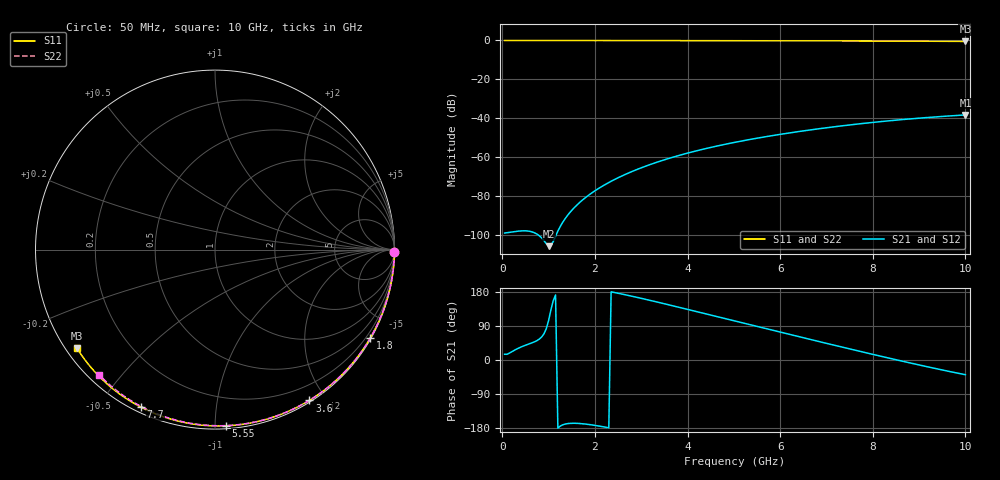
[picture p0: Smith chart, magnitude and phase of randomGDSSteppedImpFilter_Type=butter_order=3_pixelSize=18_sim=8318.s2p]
! freq	dB(S11)	phase(S11)	dB(S12)	phase(S12)
!  dB(S21)	phase(S21)	dB(S22)	phase(S22)
!S-par simulation data
#  GHz  S  DB  R 50
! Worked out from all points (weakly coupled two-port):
!   200 points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, 50 MHz to 10 GHz, reference 50 ohm
!   highest |S21| = -38.25 dB at 10 GHz (marker M1); lowest = -105.7 dB at 1 GHz (marker M2)
!   lowest |S11| = -0.5 dB at 10 GHz (marker M3), VSWR 35.43, Z = 1.56 - j16 ohm
!   |S11| at or under -10 dB: nowhere
!   |S22| runs from -0.4 to 0.0 dB; largest |S21 - S12| = 0
!   S11 on the Smith chart (normalised r, x): 50 MHz: open; 1.8 GHz: 0.03, -3.77; 3.6 GHz: 0.02, -1.80; 5.55 GHz: 0.02, -1.07; 7.7 GHz: 0.02, -0.63; 10 GHz: 0.03, -0.32
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0.05  -0.00 -0.8  -98.93 15.1  -98.93 15.1  -0.00 -0.8
0.5  -0.01 -8.4  -97.80 39.0  -97.80 39.0  -0.01 -7.7
1  -0.02 -16.7  -105.68 104.3  -105.68 104.3  -0.02 -15.2
1.75  -0.04 -28.9  -81.61 -168.4  -81.61 -168.4  -0.03 -26.4
1.8  -0.04 -29.7  -80.65 -169.1  -80.65 -169.1  -0.03 -27.2
1.85  -0.04 -30.5  -79.75 -169.8  -79.75 -169.8  -0.04 -27.9
2  -0.04 -32.9  -77.24 -172.5  -77.24 -172.5  -0.04 -30.1
2.15  -0.05 -35.4  -75.01 -175.5  -75.01 -175.5  -0.04 -32.4
2.35  -0.05 -38.5  -72.34 179.9  -72.34 179.9  -0.05 -35.3
2.55  -0.05 -41.7  -69.97 174.9  -69.97 174.9  -0.05 -38.2
2.95  -0.06 -48.0  -65.89 164.2  -65.89 164.2  -0.06 -44.0
3.4  -0.07 -54.9  -62.06 151.4  -62.06 151.4  -0.07 -50.4
3.6  -0.08 -58.0  -60.57 145.5  -60.57 145.5  -0.07 -53.2
4.3  -0.10 -68.4  -56.07 124.6  -56.07 124.6  -0.09 -62.8
5.05  -0.12 -79.3  -52.20 101.9  -52.20 101.9  -0.11 -72.9
5.55  -0.14 -86.4  -50.01 86.9  -50.01 86.9  -0.13 -79.4
6.1  -0.17 -93.9  -47.86 70.5  -47.86 70.5  -0.15 -86.4
6.7  -0.20 -102.0  -45.79 52.7  -45.79 52.7  -0.18 -93.9
7.7  -0.26 -115.2  -42.86 23.5  -42.86 23.5  -0.24 -106.0
8.35  -0.32 -123.5  -41.27 4.9  -41.27 4.9  -0.29 -113.7
9.2  -0.40 -134.4  -39.55 -18.5  -39.55 -18.5  -0.36 -123.6
10  -0.49 -144.5  -38.25 -38.9  -38.25 -38.9  -0.44 -132.8
